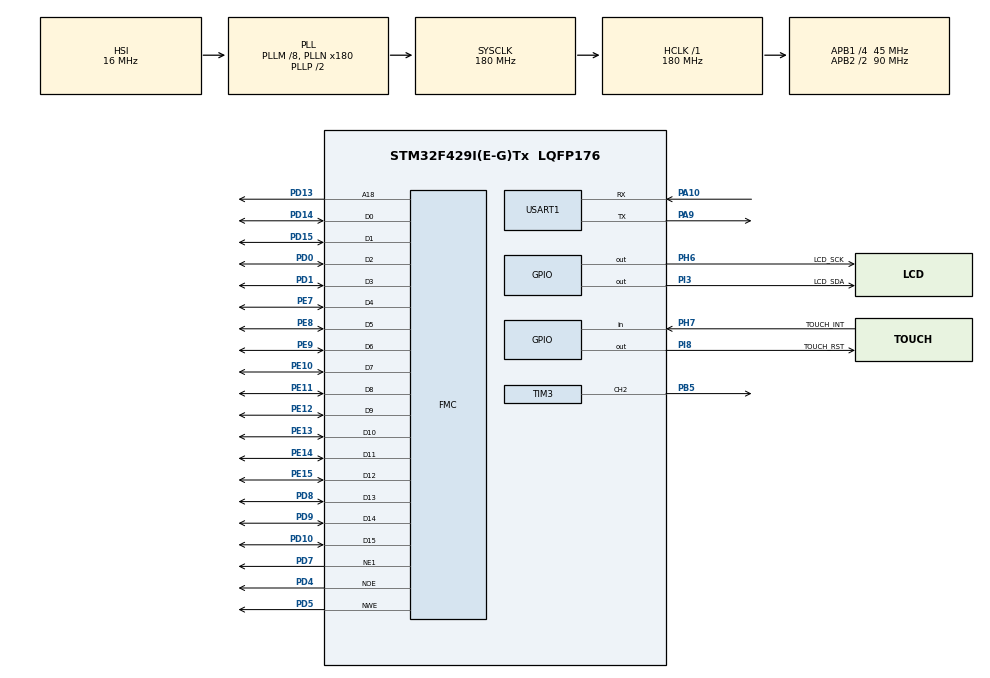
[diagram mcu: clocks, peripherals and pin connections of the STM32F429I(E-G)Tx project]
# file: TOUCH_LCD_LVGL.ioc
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DMA2D.ColorMode=DMA2D_OUTPUT_RGB565
Dma.MEMTOMEM.0.Direction=DMA_MEMORY_TO_MEMORY
Dma.MEMTOMEM.0.FIFOMode=DMA_FIFOMODE_ENABLE
Dma.MEMTOMEM.0.FIFOThreshold=DMA_FIFO_THRESHOLD_FULL
Dma.MEMTOMEM.0.Instance=DMA2_Stream0
Dma.MEMTOMEM.0.MemBurst=DMA_MBURST_SINGLE
Dma.MEMTOMEM.0.MemDataAlignment=DMA_MDATAALIGN_HALFWORD
Dma.MEMTOMEM.0.MemInc=DMA_MINC_DISABLE
Dma.MEMTOMEM.0.Mode=DMA_NORMAL
Dma.MEMTOMEM.0.PeriphBurst=DMA_PBURST_INC4
Dma.MEMTOMEM.0.PeriphDataAlignment=DMA_PDATAALIGN_HALFWORD
Dma.MEMTOMEM.0.PeriphInc=DMA_PINC_ENABLE
Dma.MEMTOMEM.0.Priority=DMA_PRIORITY_VERY_HIGH
Dma.Request0=MEMTOMEM
FMC.AddressSetupTime1=2
FMC.BusTurnAroundDuration1=0
FMC.DataSetupTime1=4
FMC.ExtendedAddressSetupTime1=2
FMC.ExtendedBusTurnAroundDuration1=0
FMC.ExtendedDataSetupTime1=2
FMC.ExtendedMode1=FMC_EXTENDED_MODE_ENABLE
Mcu.Family=STM32F4
Mcu.Name=STM32F429I(E-G)Tx
Mcu.Package=LQFP176
NVIC.DMA2D_IRQn=true\:0\:0\:false\:false\:true\:true\:true\:true
NVIC.DMA2_Stream0_IRQn=true\:0\:0\:false\:false\:true\:true\:true\:true
NVIC.PriorityGroup=NVIC_PRIORITYGROUP_4
NVIC.TIM6_DAC_IRQn=true\:0\:0\:false\:false\:true\:true\:true\:true
PA10.Mode=Asynchronous
PA10.Signal=USART1_RX
PA13.Mode=Serial_Wire
PA13.Signal=SYS_JTMS-SWDIO
PA14.Mode=Serial_Wire
PA14.Signal=SYS_JTCK-SWCLK
PA9.Mode=Asynchronous
PA9.Signal=USART1_TX
PB5.Signal=S_TIM3_CH2
PD0.Signal=FMC_D2_DA2
PD1.Signal=FMC_D3_DA3
PD10.Signal=FMC_D15_DA15
PD13.Signal=FMC_A18
PD14.Signal=FMC_D0_DA0
PD15.Signal=FMC_D1_DA1
PD4.Signal=FMC_NOE
PD5.Signal=FMC_NWE
PD7.Mode=NorPsramChipSelect1_1
PD7.Signal=FMC_NE1
PD8.Signal=FMC_D13_DA13
PD9.Signal=FMC_D14_DA14
PE10.Signal=FMC_D7_DA7
PE11.Signal=FMC_D8_DA8
PE12.Signal=FMC_D9_DA9
PE13.Signal=FMC_D10_DA10
PE14.Signal=FMC_D11_DA11
PE15.Signal=FMC_D12_DA12
PE7.Signal=FMC_D4_DA4
PE8.Signal=FMC_D5_DA5
PE9.Signal=FMC_D6_DA6
PH0/OSC_IN.Mode=HSE-External-Oscillator
PH0/OSC_IN.Signal=RCC_OSC_IN
PH1/OSC_OUT.Mode=HSE-External-Oscillator
PH1/OSC_OUT.Signal=RCC_OSC_OUT
PH6.GPIO_Label=LCD_SCK
PH6.GPIO_ModeDefaultOutputPP=GPIO_MODE_OUTPUT_OD
PH6.GPIO_PuPd=GPIO_PULLUP
PH6.GPIO_Speed=GPIO_SPEED_FREQ_HIGH
PH6.PinState=GPIO_PIN_SET
PH6.Signal=GPIO_Output
PH7.GPIO_Label=TOUCH_INT
PH7.GPIO_PuPd=GPIO_PULLUP
PH7.Signal=GPIO_Input
PI3.GPIO_Label=LCD_SDA
PI3.GPIO_ModeDefaultOutputPP=GPIO_MODE_OUTPUT_OD
PI3.GPIO_PuPd=GPIO_PULLUP
PI3.GPIO_Speed=GPIO_SPEED_FREQ_HIGH
PI3.PinState=GPIO_PIN_SET
PI3.Signal=GPIO_Output
PI8.GPIO_Label=TOUCH_RST
PI8.GPIO_PuPd=GPIO_PULLUP
PI8.GPIO_Speed=GPIO_SPEED_FREQ_LOW
PI8.Signal=GPIO_Output
ProjectManager.HeapSize=0x1000
ProjectManager.StackSize=0x1000
ProjectManager.TargetToolchain=MDK-ARM V5.32
RCC.48MHZClocksFreq_Value=90000000
RCC.AHBFreq_Value=180000000
RCC.APB1CLKDivider=RCC_HCLK_DIV4
RCC.APB1Freq_Value=45000000
RCC.APB1TimFreq_Value=90000000
RCC.APB2CLKDivider=RCC_HCLK_DIV2
RCC.APB2Freq_Value=90000000
RCC.APB2TimFreq_Value=180000000
RCC.CortexFreq_Value=180000000
RCC.HCLKFreq_Value=180000000
RCC.HSE_VALUE=25000000
RCC.HSI_VALUE=16000000
RCC.LSE_VALUE=32768
RCC.PLLM=8
RCC.PLLN=180
RCC.SYSCLKFreq_VALUE=180000000
RCC.SYSCLKSource=RCC_SYSCLKSOURCE_PLLCLK
RCC.VCOOutputFreq_Value=360000000
SH.FMC_A18.0=FMC_A18,A18_1
SH.FMC_D0_DA0.0=FMC_D0,16b-d1
SH.FMC_D10_DA10.0=FMC_D10,16b-d1
SH.FMC_D11_DA11.0=FMC_D11,16b-d1
SH.FMC_D12_DA12.0=FMC_D12,16b-d1
SH.FMC_D13_DA13.0=FMC_D13,16b-d1
SH.FMC_D14_DA14.0=FMC_D14,16b-d1
SH.FMC_D15_DA15.0=FMC_D15,16b-d1
SH.FMC_D1_DA1.0=FMC_D1,16b-d1
SH.FMC_D2_DA2.0=FMC_D2,16b-d1
SH.FMC_D3_DA3.0=FMC_D3,16b-d1
SH.FMC_D4_DA4.0=FMC_D4,16b-d1
SH.FMC_D5_DA5.0=FMC_D5,16b-d1
SH.FMC_D6_DA6.0=FMC_D6,16b-d1
SH.FMC_D7_DA7.0=FMC_D7,16b-d1
SH.FMC_D8_DA8.0=FMC_D8,16b-d1
SH.FMC_D9_DA9.0=FMC_D9,16b-d1
SH.FMC_NOE.0=FMC_NOE,Lcd1
SH.FMC_NWE.0=FMC_NWE,Lcd1
SH.S_TIM3_CH2.0=TIM3_CH2,PWM Generation2 CH2
TIM3.AutoReloadPreload=TIM_AUTORELOAD_PRELOAD_ENABLE
TIM3.Channel-PWM\ Generation2\ CH2=TIM_CHANNEL_2
TIM3.OCFastMode_PWM-PWM\ Generation2\ CH2=TIM_OCFAST_DISABLE
TIM3.Period=100
TIM3.Prescaler=9000
TIM6.AutoReloadPreload=TIM_AUTORELOAD_PRELOAD_ENABLE
TIM6.Period=999
TIM6.Prescaler=71
USART1.VirtualMode=VM_ASYNC
VP_DMA2D_VS_DMA2D.Mode=DMA2D_Activate
VP_TIM3_VS_ClockSourceINT.Mode=Internal
VP_TIM6_VS_ClockSourceINT.Mode=Enable_Timer
board=custom

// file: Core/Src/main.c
/* USER CODE BEGIN Header */
/**
  ******************************************************************************
  * @file           : main.c
  * @brief          : Main program body
  ******************************************************************************
  * @attention
  *
  * Copyright (c) 2026 STMicroelectronics.
  * All rights reserved.
  *
  * This software is licensed under terms that can be found in the LICENSE file
  * in the root directory of this software component.
  * If no LICENSE file comes with this software, it is provided AS-IS.
  *
  ******************************************************************************
  */
/* USER CODE END Header */
#include "main.h"
#include "dma.h"
#include "dma2d.h"
#include "tim.h"
#include "usart.h"
#include "gpio.h"
#include "fmc.h"

/* USER CODE BEGIN Includes */
#include "lcd.h"
#include "touch.h"
#include "delay.h"

#include "lv_port_disp.h"
#include "lv_port_indev.h"
#include "lvgl/lvgl.h"
#include "lv_demos.h"
#include "ui.h"
/* USER CODE END Includes */

void SystemClock_Config(void);

int main(void)
{

  /* MCU Configuration--------------------------------------------------------*/

  /* Reset of all peripherals, Initializes the Flash interface and the Systick. */
  HAL_Init();

  /* Configure the system clock */
  SystemClock_Config();

  /* Initialize all configured peripherals */
  MX_GPIO_Init();
  MX_DMA_Init();
  MX_TIM6_Init();
  MX_USART1_UART_Init();
  MX_FMC_Init();
  MX_DMA2D_Init();
  MX_TIM3_Init();
  /* USER CODE BEGIN 2 */
// 若需要使用dma2d优化，将main中的dma2d初始化注释，开启lv_conf中的dma2d即可，否则会冲突
  HAL_TIM_Base_Start_IT(&htim6);

   HAL_Delay(150); // NT35510手册中写明内部电池上电后需等待120ms才使用，这里做了冗余
   uint8_t lvgl_choose = 1;    // 0 测试   1 lvgl
   uint8_t stress_choose = 0;  // 0 用户ui 1 压力测试

if(!lvgl_choose)
{
  LCD_init();
  GT1151_init();
  lcd_text();
}
else
{
//注册dma中断回调函数
    HAL_DMA_RegisterCallback(&hdma_memtomem_dma2_stream0,
                             HAL_DMA_XFER_CPLT_CB_ID,
                             XferCpltCallback);
    lv_init();
    lv_port_disp_init();
    lv_port_indev_init();

    if(stress_choose)   lv_demo_stress();//压力测试
    else ui_create();//个人UI绘制
    LCD_Brightness(bring_now);

}
  HAL_TIM_PWM_Start(&htim3,TIM_CHANNEL_2);//开启背光引脚的pwm

  /* USER CODE END 2 */

  /* Infinite loop */
  /* USER CODE BEGIN WHILE */
  while (1)
  {

    if(lvgl_choose) lv_timer_handler();
    /* USER CODE END WHILE */

  }
}

void SystemClock_Config(void)
{
  RCC_OscInitTypeDef RCC_OscInitStruct = {0};
  RCC_ClkInitTypeDef RCC_ClkInitStruct = {0};

  /** Configure the main internal regulator output voltage
  */
  __HAL_RCC_PWR_CLK_ENABLE();
  __HAL_PWR_VOLTAGESCALING_CONFIG(PWR_REGULATOR_VOLTAGE_SCALE1);

  /** Initializes the RCC Oscillators according to the specified parameters
  * in the RCC_OscInitTypeDef structure.
  */
  RCC_OscInitStruct.OscillatorType = RCC_OSCILLATORTYPE_HSI;
  RCC_OscInitStruct.HSIState = RCC_HSI_ON;
  RCC_OscInitStruct.HSICalibrationValue = RCC_HSICALIBRATION_DEFAULT;
  RCC_OscInitStruct.PLL.PLLState = RCC_PLL_ON;
  RCC_OscInitStruct.PLL.PLLSource = RCC_PLLSOURCE_HSI;
  RCC_OscInitStruct.PLL.PLLM = 8;
  RCC_OscInitStruct.PLL.PLLN = 180;
  RCC_OscInitStruct.PLL.PLLP = RCC_PLLP_DIV2;
  RCC_OscInitStruct.PLL.PLLQ = 4;
  if (HAL_RCC_OscConfig(&RCC_OscInitStruct) != HAL_OK)
  {
    Error_Handler();
  }

  /** Activate the Over-Drive mode
  */
  if (HAL_PWREx_EnableOverDrive() != HAL_OK)
  {
    Error_Handler();
  }

  /** Initializes the CPU, AHB and APB buses clocks
  */
  RCC_ClkInitStruct.ClockType = RCC_CLOCKTYPE_HCLK|RCC_CLOCKTYPE_SYSCLK
                              |RCC_CLOCKTYPE_PCLK1|RCC_CLOCKTYPE_PCLK2;
  RCC_ClkInitStruct.SYSCLKSource = RCC_SYSCLKSOURCE_PLLCLK;
  RCC_ClkInitStruct.AHBCLKDivider = RCC_SYSCLK_DIV1;
  RCC_ClkInitStruct.APB1CLKDivider = RCC_HCLK_DIV4;
  RCC_ClkInitStruct.APB2CLKDivider = RCC_HCLK_DIV2;

  if (HAL_RCC_ClockConfig(&RCC_ClkInitStruct, FLASH_LATENCY_5) != HAL_OK)
  {
    Error_Handler();
  }
}

void Error_Handler(void)
{
  __disable_irq();
  while (1)
  {
  }
}
